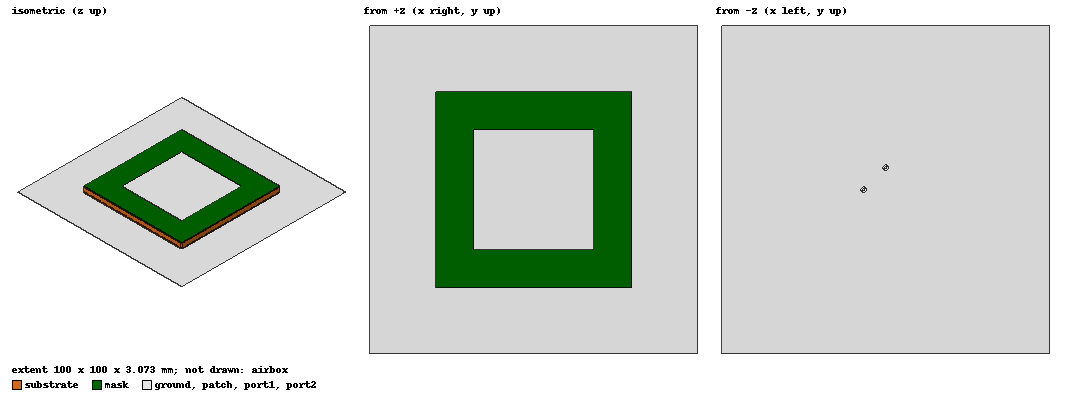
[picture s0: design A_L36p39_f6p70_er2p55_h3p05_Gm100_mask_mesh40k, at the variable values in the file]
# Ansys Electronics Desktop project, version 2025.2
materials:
  vacuum: permittivity=1
  substrate_design: permittivity=2.55 permeability=1 dielectric_loss_tangent=0.0018
  solder_mask: permittivity=3.8 permeability=1 dielectric_loss_tangent=0.025
  copper: permeability=0.999991 conductivity=58000000
  pec: conductivity=1e+30

design A_L36p39_f6p70_er2p55_h3p05_Gm100_mask_mesh40k (HFSS, HFSS Modal Network, model units mm)
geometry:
  substrate [substrate_design] = box(corner=(-30mm, -30mm, 0mm), size=(60mm, 60mm, 3.048mm))
  ground = rectangle(corner=(-50mm, -50mm, 0mm), x_size=100mm, y_size=100mm)
  hole1 = circle(normal=Z, centre=(6.7mm, 0mm, 0mm), radius=0.8mm)
  ground.subtract(hole1)
  hole2 = circle(normal=Z, centre=(0mm, 6.7mm, 0mm), radius=0.8mm)
  ground.subtract(hole2)
  patch = polyline(z=3.048mm, xy in mm: (-18.195, 18.195) (18.195, 18.195) (18.195, -18.195) (-18.195, -18.195) (-18.195, 18.195), closed, covered)
  mask [solder_mask] = box(corner=(-30mm, -30mm, 3.048mm), size=(60mm, 60mm, 0.025mm))
  mask_opening = polyline(z=3.048mm, xy in mm: (-18.195, 18.195) (18.195, 18.195) (18.195, -18.195) (-18.195, -18.195) (-18.195, 18.195), closed, covered)
  mask_opening.sweep_along_vector((0mm, 0mm, 0.025mm))
  mask.subtract(mask_opening)
  pin1 [pec] = cylinder(axis=Z, base_centre=(6.7mm, 0mm, 0mm), radius=0.25mm, height=3.048mm)
  pin1_1 = pin1.copy()
  substrate.subtract(pin1_1)
  port1 = circle(normal=Z, centre=(6.7mm, 0mm, 0mm), radius=0.8mm)
  inner1 = circle(normal=Z, centre=(6.7mm, 0mm, 0mm), radius=0.25mm)
  port1.subtract(inner1)
  pin2 [pec] = cylinder(axis=Z, base_centre=(0mm, 6.7mm, 0mm), radius=0.25mm, height=3.048mm)
  pin2_1 = pin2.copy()
  substrate.subtract(pin2_1)
  port2 = circle(normal=Z, centre=(0mm, 6.7mm, 0mm), radius=0.8mm)
  inner2 = circle(normal=Z, centre=(0mm, 6.7mm, 0mm), radius=0.25mm)
  port2.subtract(inner2)
  airbox [vacuum] = box(corner=(-80.906439mm, -80.906439mm, -30.906439mm), size=(161.81288mm, 161.81288mm, 64.885878mm))
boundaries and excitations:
  Cu_sheets: Finite Conductivity Objects=[patch, ground] UseMaterial Material=copper Roughness=0mm IsInternal
  Rad__ZO0FXP: Radiation Objects=airbox
  P1: Lumped Port Objects=port1 LumpedPortType=Modal Modes{Mode1{IntLine{(6.95, 0, 0) -> (7.5, 0, 0)} CharImp=Zpi RenormImp=50ohm}} Impedance=50ohm
  P2: Lumped Port Objects=port2 LumpedPortType=Modal Modes{Mode1{IntLine{(0.25, 6.7, 0) -> (0.8, 6.7, 0)} CharImp=Zpi RenormImp=50ohm}} Impedance=50ohm
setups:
  Setup1: HfssDriven Frequency=2.425GHz MaxDeltaS=1e-05 MaximumPasses=10 MinimumPasses=1 MinimumConvergedPasses=2 PercentRefinement=30 BasisOrder=1 PortAccuracy=2 DrivenSolverType="Direct Solver"
    sweep S: 2.2GHz to 2.65GHz, 901 points; Type=Interpolating InterpTolerance=0.5 InterpMaxSolns=250 InterpUsePortImped=false PassivityErrorTolerance=0.0001
    sweep FF: 2.365GHz to 2.485GHz step 0.005GHz; Type=Discrete SaveFields
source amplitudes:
  P1:1: 1W 0deg
  P2:1: 1W -90deg
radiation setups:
  ff: Infinite Sphere Theta=-180deg..180deg step 2deg Phi=0deg..90deg step 90deg
